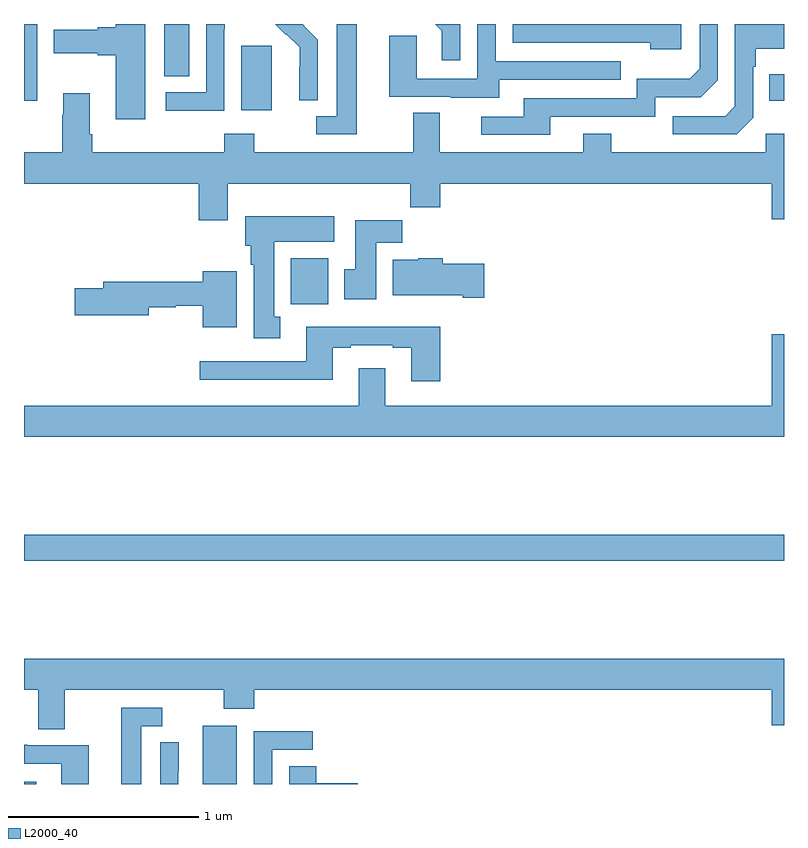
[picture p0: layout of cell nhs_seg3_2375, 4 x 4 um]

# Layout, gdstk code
import gdstk
lib = gdstk.Library(unit=1e-6, precision=1e-09)
def R(c, l, rs):  # rectangles x0, y0, x1, y1
    for r in rs: c.add(gdstk.rectangle(r[:2], r[2:], *l))
def P(c, l, *ps):  # polygons
    for p in ps: c.add(gdstk.Polygon(p, *l))
L2000_40 = (2000, 40)

nhs_seg3_2375 = lib.new_cell('nhs_seg3_2375')
R(nhs_seg3_2375, L2000_40, [(233,720.4,233.065,720.412), (233.942,720.4,234.121,720.706), (233,721.576,237,721.712), (234.404,722.924,234.601,723.166), (234.143,723.945,234.304,724.285), (233,723.995,233.07,724.4), (236.923,723.995,237,724.135), (233.738,724.126,233.869,724.4)])
P(nhs_seg3_2375, L2000_40, [(234.054,724.372),(234.057,724.372),(234.057,724.4),(233.958,724.4),(233.958,724.041),(233.745,724.041),(233.745,723.943),(234.054,723.943)],
  [(235.501,724.107),(236.141,724.107),(236.141,724.203),(235.482,724.203),(235.482,724.4),(235.386,724.4),(235.386,724.113),(235.068,724.113),(235.068,724.337),(234.923,724.337),(234.923,724.017),(235.247,724.017),(235.247,724.013),(235.501,724.013)],
  [(236.838,723.906),(236.838,724.175),(236.851,724.175),(236.851,724.271),(237,724.271),(237,724.4),(236.742,724.4),(236.742,723.966),(236.691,723.915),(236.415,723.915),(236.415,723.819),(236.751,723.819)],
  [(233.638,724.4),(233.483,724.4),(233.483,724.382),(233.387,724.382),(233.387,724.369),(233.157,724.369),(233.157,724.247),(233.387,724.247),(233.387,724.235),(233.483,724.235),(233.483,723.9),(233.638,723.9)],
  [(235.771,723.912),(236.322,723.912),(236.322,724.014),(236.562,724.014),(236.652,724.104),(236.652,724.4),(236.556,724.4),(236.556,724.164),(236.503,724.111),(236.226,724.111),(236.226,724.008),(235.631,724.008),(235.631,723.912),(235.407,723.912),(235.407,723.816),(235.771,723.816)],
  [(234.751,724.4),(234.647,724.4),(234.647,723.915),(234.537,723.915),(234.537,723.819),(234.751,723.819)],
  [(235.296,724.4),(235.164,724.4),(235.199,724.365),(235.199,724.209),(235.296,724.209)],
  [(234.546,724.318),(234.473,724.391),(234.474,724.392),(234.466,724.4),(234.322,724.4),(234.378,724.344),(234.381,724.347),(234.452,724.277),(234.452,724.172),(234.449,724.172),(234.449,724),(234.546,724)],
  [(236.458,724.398),(235.681,724.398),(235.681,724.4),(235.572,724.4),(235.572,724.302),(236.297,724.302),(236.297,724.268),(236.458,724.268)],
  [(234.073,723.56),(235.033,723.56),(235.033,723.436),(235.19,723.436),(235.19,723.56),(236.936,723.56),(236.936,723.372),(237,723.372),(237,723.823),(236.904,723.823),(236.904,723.724),(236.091,723.724),(236.091,723.823),(235.943,723.823),(235.943,723.724),(235.189,723.724),(235.189,723.932),(235.049,723.932),(235.049,723.724),(234.213,723.724),(234.213,723.823),(234.053,723.823),(234.053,723.724),(233.36,723.724),(233.36,723.82),(233.347,723.82),(233.347,724.036),(233.207,724.036),(233.207,723.923),(233.2,723.923),(233.2,723.724),(233,723.724),(233,723.56),(233.921,723.56),(233.921,723.366),(234.073,723.366)],
  [(234.349,722.858),(234.316,722.858),(234.316,723.254),(234.634,723.254),(234.634,723.388),(234.164,723.388),(234.164,723.234),(234.194,723.234),(234.194,723.134),(234.209,723.134),(234.209,722.745),(234.349,722.745)],
  [(234.853,723.248),(234.992,723.248),(234.992,723.367),(234.743,723.367),(234.743,723.108),(234.686,723.108),(234.686,722.952),(234.853,722.952)],
  [(235.423,723.138),(235.205,723.138),(235.205,723.166),(235.074,723.166),(235.074,723.16),(234.941,723.16),(234.941,722.972),(235.31,722.972),(235.31,722.96),(235.423,722.96)],
  [(234.121,723.1),(233.942,723.1),(233.942,723.044),(233.417,723.044),(233.417,723.008),(233.268,723.008),(233.268,722.866),(233.656,722.866),(233.656,722.908),(233.799,722.908),(233.799,722.916),(233.942,722.916),(233.942,722.804),(234.121,722.804)],
  [(235.19,722.806),(234.485,722.806),(234.485,722.625),(233.925,722.625),(233.925,722.528),(234.625,722.528),(234.625,722.697),(234.721,722.697),(234.721,722.709),(234.941,722.709),(234.941,722.697),(235.037,722.697),(235.037,722.52),(235.19,722.52)],
  [(237,722.767),(236.936,722.767),(236.936,722.392),(234.901,722.392),(234.901,722.587),(234.761,722.587),(234.761,722.392),(233,722.392),(233,722.228),(237,722.228)],
  [(233.215,720.896),(234.052,720.896),(234.052,720.797),(234.212,720.797),(234.212,720.896),(236.936,720.896),(236.936,720.708),(237,720.708),(237,721.06),(233,721.06),(233,720.896),(233.075,720.896),(233.075,720.688),(233.215,720.688)],
  [(233.617,720.705),(233.728,720.705),(233.728,720.801),(233.513,720.801),(233.513,720.4),(233.617,720.4)],
  [(234.306,720.579),(234.52,720.579),(234.52,720.678),(234.21,720.678),(234.21,720.4),(234.306,720.4)],
  [(233.813,720.466),(233.814,720.466),(233.814,720.62),(233.718,720.62),(233.718,720.4),(233.813,720.4)],
  [(233.341,720.603),(233.017,720.603),(233.017,720.607),(233,720.607),(233,720.507),(233.196,720.507),(233.196,720.4),(233.341,720.4)],
  [(234.757,720.404),(234.539,720.404),(234.539,720.494),(234.395,720.494),(234.395,720.4),(234.757,720.4)])

lib.write_gds('nhs_seg3_2375.gds')
